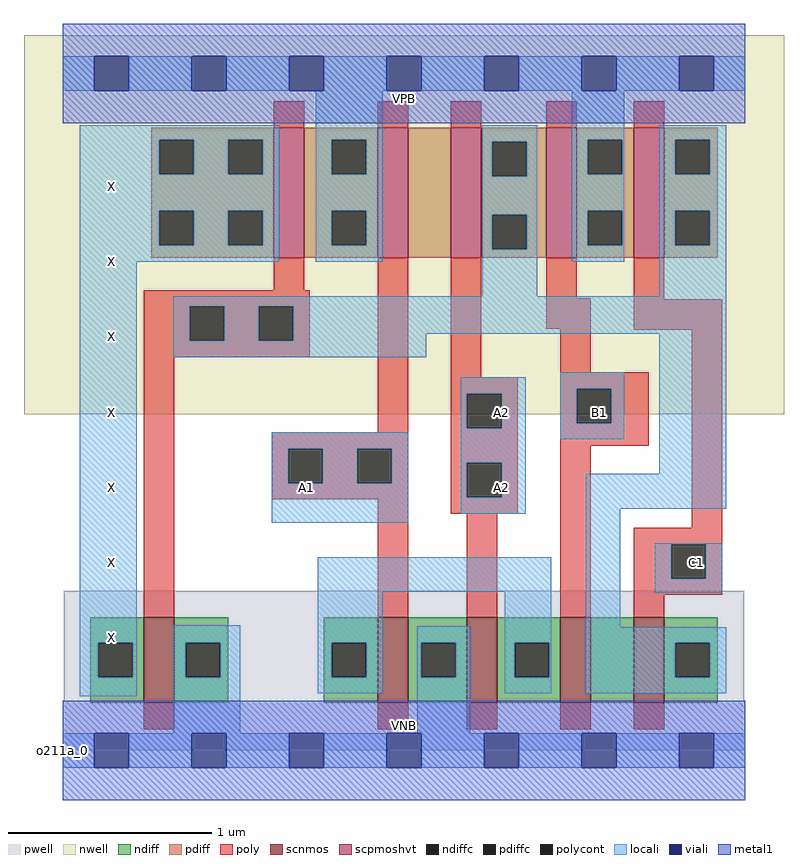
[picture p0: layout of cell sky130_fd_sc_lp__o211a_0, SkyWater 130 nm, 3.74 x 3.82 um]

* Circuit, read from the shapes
.subckt sky130_fd_sc_lp__o211a_0 A1 A2 B1 C1 VGND VNB VPB VPWR X
XM1 VGND n1 X VNB sky130_fd_pr__nfet_01v8 w=0.42 l=0.15
XM2 VGND A1 n2 VNB sky130_fd_pr__nfet_01v8 w=0.42 l=0.15
XM3 n2 A2 VGND VNB sky130_fd_pr__nfet_01v8 w=0.42 l=0.15
XM4 n3 B1 n2 VNB sky130_fd_pr__nfet_01v8 w=0.42 l=0.15
XM5 n1 C1 n3 VNB sky130_fd_pr__nfet_01v8 w=0.42 l=0.15
XM6 VPWR n1 X VPB sky130_fd_pr__pfet_01v8_hvt w=0.64 l=0.15
XM7 n4 A1 VPWR VPB sky130_fd_pr__pfet_01v8_hvt w=0.64 l=0.15
XM8 n1 A2 n4 VPB sky130_fd_pr__pfet_01v8_hvt w=0.64 l=0.15
XM9 VPWR B1 n1 VPB sky130_fd_pr__pfet_01v8_hvt w=0.64 l=0.15
XM10 n1 C1 VPWR VPB sky130_fd_pr__pfet_01v8_hvt w=0.64 l=0.15
.ends

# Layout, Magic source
magic
tech sky130A
magscale 1 2
<< nwell >>
rect -38 331 710 704
<< pwell >>
rect 1 49 671 157
rect 0 0 672 49
<< scnmos >>
rect 80 47 110 131
rect 310 47 340 131
rect 398 47 428 131
rect 490 47 520 131
rect 562 47 592 131
<< scpmoshvt >>
rect 208 485 238 613
rect 310 485 340 613
rect 382 485 412 613
rect 476 485 506 613
rect 562 485 592 613
<< ndiff >>
rect 27 106 80 131
rect 27 72 35 106
rect 69 72 80 106
rect 27 47 80 72
rect 110 106 163 131
rect 110 72 121 106
rect 155 72 163 106
rect 110 47 163 72
rect 257 106 310 131
rect 257 72 265 106
rect 299 72 310 106
rect 257 47 310 72
rect 340 106 398 131
rect 340 72 353 106
rect 387 72 398 106
rect 340 47 398 72
rect 428 106 490 131
rect 428 72 445 106
rect 479 72 490 106
rect 428 47 490 72
rect 520 47 562 131
rect 592 106 645 131
rect 592 72 603 106
rect 637 72 645 106
rect 592 47 645 72
<< pdiff >>
rect 87 601 208 613
rect 87 567 95 601
rect 129 567 163 601
rect 197 567 208 601
rect 87 531 208 567
rect 87 497 95 531
rect 129 497 163 531
rect 197 497 208 531
rect 87 485 208 497
rect 238 601 310 613
rect 238 567 265 601
rect 299 567 310 601
rect 238 531 310 567
rect 238 497 265 531
rect 299 497 310 531
rect 238 485 310 497
rect 340 485 382 613
rect 412 599 476 613
rect 412 565 423 599
rect 457 565 476 599
rect 412 527 476 565
rect 412 493 423 527
rect 457 493 476 527
rect 412 485 476 493
rect 506 601 562 613
rect 506 567 517 601
rect 551 567 562 601
rect 506 531 562 567
rect 506 497 517 531
rect 551 497 562 531
rect 506 485 562 497
rect 592 601 645 613
rect 592 567 603 601
rect 637 567 645 601
rect 592 531 645 567
rect 592 497 603 531
rect 637 497 645 531
rect 592 485 645 497
<< ndiffc >>
rect 35 72 69 106
rect 121 72 155 106
rect 265 72 299 106
rect 353 72 387 106
rect 445 72 479 106
rect 603 72 637 106
<< pdiffc >>
rect 95 567 129 601
rect 163 567 197 601
rect 95 497 129 531
rect 163 497 197 531
rect 265 567 299 601
rect 265 497 299 531
rect 423 565 457 599
rect 423 493 457 527
rect 517 567 551 601
rect 517 497 551 531
rect 603 567 637 601
rect 603 497 637 531
<< poly >>
rect 208 613 238 639
rect 310 613 340 639
rect 382 613 412 639
rect 476 613 506 639
rect 562 613 592 639
rect 208 453 238 485
rect 80 437 243 453
rect 80 403 125 437
rect 159 403 193 437
rect 227 403 243 437
rect 80 387 243 403
rect 80 131 110 387
rect 310 313 340 485
rect 206 297 340 313
rect 206 263 222 297
rect 256 263 290 297
rect 324 263 340 297
rect 206 247 340 263
rect 310 131 340 247
rect 382 367 412 485
rect 476 445 506 485
rect 476 415 520 445
rect 490 372 520 415
rect 562 444 592 485
rect 562 414 649 444
rect 382 351 448 367
rect 382 317 398 351
rect 432 317 448 351
rect 382 283 448 317
rect 382 249 398 283
rect 432 249 448 283
rect 382 233 448 249
rect 490 356 577 372
rect 490 322 506 356
rect 540 322 577 356
rect 490 300 577 322
rect 398 131 428 233
rect 490 131 520 300
rect 619 219 649 414
rect 562 203 649 219
rect 562 169 599 203
rect 633 169 649 203
rect 562 153 649 169
rect 562 131 592 153
rect 80 21 110 47
rect 310 21 340 47
rect 398 21 428 47
rect 490 21 520 47
rect 562 21 592 47
<< polycont >>
rect 125 403 159 437
rect 193 403 227 437
rect 222 263 256 297
rect 290 263 324 297
rect 398 317 432 351
rect 398 249 432 283
rect 506 322 540 356
rect 599 169 633 203
<< locali >>
rect 0 649 31 683
rect 65 649 127 683
rect 161 649 223 683
rect 257 649 319 683
rect 353 649 415 683
rect 449 649 511 683
rect 545 649 607 683
rect 641 649 672 683
rect 17 601 213 615
rect 17 567 95 601
rect 129 567 163 601
rect 197 567 213 601
rect 17 531 213 567
rect 17 497 95 531
rect 129 497 163 531
rect 197 497 213 531
rect 17 481 213 497
rect 249 601 315 649
rect 249 567 265 601
rect 299 567 315 601
rect 249 531 315 567
rect 249 497 265 531
rect 299 497 315 531
rect 249 481 315 497
rect 413 599 467 615
rect 413 565 423 599
rect 457 565 467 599
rect 413 527 467 565
rect 413 493 423 527
rect 457 493 467 527
rect 17 106 73 481
rect 413 447 467 493
rect 501 601 553 649
rect 501 567 517 601
rect 551 567 553 601
rect 501 531 553 567
rect 501 497 517 531
rect 551 497 553 531
rect 501 481 553 497
rect 587 601 653 615
rect 587 567 603 601
rect 637 567 653 601
rect 587 531 653 567
rect 587 497 603 531
rect 637 497 653 531
rect 587 447 653 497
rect 109 437 653 447
rect 109 403 125 437
rect 159 403 193 437
rect 227 410 653 437
rect 227 403 358 410
rect 109 387 358 403
rect 392 351 456 367
rect 392 317 398 351
rect 432 317 456 351
rect 206 297 340 313
rect 206 263 222 297
rect 256 263 290 297
rect 324 263 340 297
rect 206 224 340 263
rect 392 283 456 317
rect 490 356 553 372
rect 490 322 506 356
rect 540 322 553 356
rect 490 306 553 322
rect 392 249 398 283
rect 432 249 456 283
rect 587 272 653 410
rect 392 233 456 249
rect 515 238 653 272
rect 251 156 481 190
rect 17 72 35 106
rect 69 72 73 106
rect 17 53 73 72
rect 109 106 175 123
rect 109 72 121 106
rect 155 72 175 106
rect 109 17 175 72
rect 251 106 315 156
rect 251 72 265 106
rect 299 72 315 106
rect 251 56 315 72
rect 349 106 401 122
rect 349 72 353 106
rect 387 72 401 106
rect 349 17 401 72
rect 435 106 481 156
rect 435 72 445 106
rect 479 72 481 106
rect 435 56 481 72
rect 515 121 549 238
rect 583 203 649 204
rect 583 169 599 203
rect 633 169 649 203
rect 583 155 649 169
rect 515 106 653 121
rect 515 72 603 106
rect 637 72 653 106
rect 515 56 653 72
rect 0 -17 31 17
rect 65 -17 127 17
rect 161 -17 223 17
rect 257 -17 319 17
rect 353 -17 415 17
rect 449 -17 511 17
rect 545 -17 607 17
rect 641 -17 672 17
<< viali >>
rect 31 649 65 683
rect 127 649 161 683
rect 223 649 257 683
rect 319 649 353 683
rect 415 649 449 683
rect 511 649 545 683
rect 607 649 641 683
rect 31 -17 65 17
rect 127 -17 161 17
rect 223 -17 257 17
rect 319 -17 353 17
rect 415 -17 449 17
rect 511 -17 545 17
rect 607 -17 641 17
<< metal1 >>
rect 0 683 672 715
rect 0 649 31 683
rect 65 649 127 683
rect 161 649 223 683
rect 257 649 319 683
rect 353 649 415 683
rect 449 649 511 683
rect 545 649 607 683
rect 641 649 672 683
rect 0 617 672 649
rect 0 17 672 49
rect 0 -17 31 17
rect 65 -17 127 17
rect 161 -17 223 17
rect 257 -17 319 17
rect 353 -17 415 17
rect 449 -17 511 17
rect 545 -17 607 17
rect 641 -17 672 17
rect 0 -49 672 -17
<< labels >>
flabel pwell s 0 0 672 49 0 FreeSans 200 0 0 0 VNB
port 6 nsew ground bidirectional
flabel nwell s 0 617 672 666 0 FreeSans 200 0 0 0 VPB
port 7 nsew power bidirectional
rlabel comment s 0 0 0 0 4 o211a_0
flabel metal1 s 0 617 672 666 0 FreeSans 340 0 0 0 VPWR
port 8 nsew power bidirectional
flabel metal1 s 0 0 672 49 0 FreeSans 340 0 0 0 VGND
port 5 nsew ground bidirectional
flabel locali s 415 242 449 276 0 FreeSans 340 0 0 0 A2
port 2 nsew signal input
flabel locali s 415 316 449 350 0 FreeSans 340 0 0 0 A2
port 2 nsew signal input
flabel locali s 511 316 545 350 0 FreeSans 340 0 0 0 B1
port 3 nsew signal input
flabel locali s 607 168 641 202 0 FreeSans 340 0 0 0 C1
port 4 nsew signal input
flabel locali s 223 242 257 276 0 FreeSans 340 0 0 0 A1
port 1 nsew signal input
flabel locali s 31 94 65 128 0 FreeSans 340 0 0 0 X
port 9 nsew signal output
flabel locali s 31 168 65 202 0 FreeSans 340 0 0 0 X
port 9 nsew signal output
flabel locali s 31 242 65 276 0 FreeSans 340 0 0 0 X
port 9 nsew signal output
flabel locali s 31 316 65 350 0 FreeSans 340 0 0 0 X
port 9 nsew signal output
flabel locali s 31 390 65 424 0 FreeSans 340 0 0 0 X
port 9 nsew signal output
flabel locali s 31 464 65 498 0 FreeSans 340 0 0 0 X
port 9 nsew signal output
flabel locali s 31 538 65 572 0 FreeSans 340 0 0 0 X
port 9 nsew signal output
<< properties >>
string LEFsite unit
string LEFclass CORE
string FIXED_BBOX 0 0 672 666
string GDS_FILE $PDKPATH/libs.ref/sky130_fd_sc_lp/gds/sky130_fd_sc_lp.gds
string LEFsymmetry X Y R90
string GDS_END 2802084
string GDS_START 2794990
<< end >>
